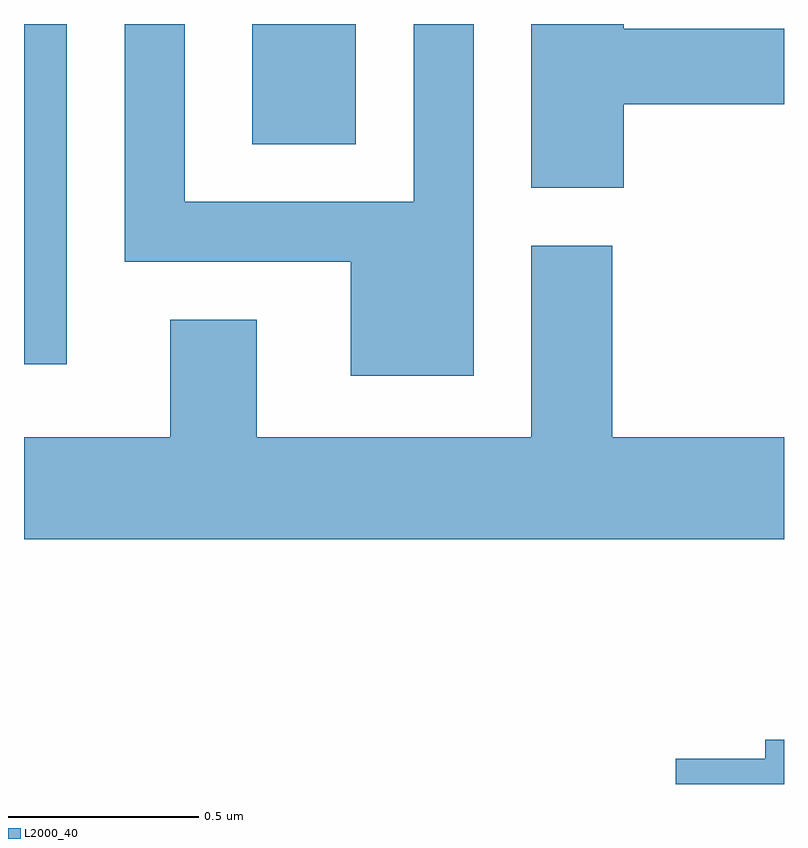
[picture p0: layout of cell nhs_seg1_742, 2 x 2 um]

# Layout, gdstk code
import gdstk
lib = gdstk.Library(unit=1e-6, precision=1e-09)
def R(c, l, rs):  # rectangles x0, y0, x1, y1
    for r in rs: c.add(gdstk.rectangle(r[:2], r[2:], *l))
def P(c, l, *ps):  # polygons
    for p in ps: c.add(gdstk.Polygon(p, *l))
L2000_40 = (2000, 40)

nhs_seg1_742 = lib.new_cell('nhs_seg1_742')
R(nhs_seg1_742, L2000_40, [(190.611,897.816,190.724,898.712), (191.211,898.396,191.484,898.712)])
P(nhs_seg1_742, L2000_40, [(192.189,898.501),(192.611,898.501),(192.611,898.699),(192.189,898.699),(192.189,898.712),(191.946,898.712),(191.946,898.281),(192.189,898.281)],
  [(191.794,898.712),(191.636,898.712),(191.636,898.244),(191.034,898.244),(191.034,898.712),(190.876,898.712),(190.876,898.086),(191.471,898.086),(191.471,897.786),(191.794,897.786)],
  [(192.611,897.624),(192.159,897.624),(192.159,898.129),(191.946,898.129),(191.946,897.624),(191.224,897.624),(191.224,897.934),(190.996,897.934),(190.996,897.624),(190.611,897.624),(190.611,897.356),(192.611,897.356)],
  [(192.611,896.829),(192.561,896.829),(192.561,896.779),(192.326,896.779),(192.326,896.712),(192.611,896.712)])

lib.write_gds('nhs_seg1_742.gds')
